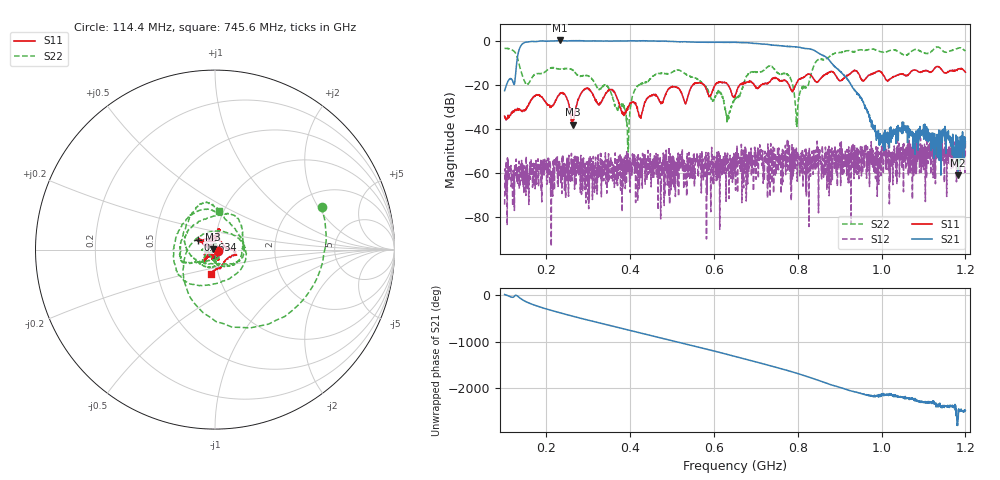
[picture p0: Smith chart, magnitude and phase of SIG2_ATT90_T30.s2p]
# Hz S DB R 50
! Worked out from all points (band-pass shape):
!   1601 points, 100 MHz to 1.2 GHz, reference 50 ohm
!   highest |S21| = 0.16 dB at 232 MHz (marker M1); lowest = -61.0 dB at 1.182 GHz (marker M2)
!   |S21| within 3 dB of the highest: 137.2 MHz to 795.6 MHz (658.4 MHz wide, 141 % of centre); 795.8826 MHz to 798.4023 MHz (2.52 MHz wide, 0.316 % of centre)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
!   lowest |S11| = -38.0 dB at 262.2 MHz (marker M3), VSWR 1.03, Z = 48.8 + j0.0724 ohm
!   |S11| at or under -10 dB: start of sweep to end of sweep
!   |S22| runs from -50.5 to -2.7 dB; largest |S21 - S12| = 1
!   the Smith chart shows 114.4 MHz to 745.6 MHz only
!   S11 on the Smith chart (normalised r, x): 114.4 MHz: 1.04, -0.02; 563.4 MHz: 0.82, +0.09; 745.6 MHz: 0.92, -0.26
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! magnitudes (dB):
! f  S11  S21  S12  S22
! 100 MHz  -34.2  -22.6  -74.4  -3.5
! 114.4 MHz  -33.7  -17.2  -59.0  -3.8
! 152.9 MHz  -30.3  -0.5  -58.4  -19.8
! 232 MHz  -23.8  0.2  -60.6  -12.9
! 262.2 MHz  -38.0  0.0  -54.0  -13.3
! 283.6 MHz  -23.7  0.0  -69.8  -15.9
! 345.4 MHz  -23.0  -0.1  -60.6  -20.8
! 394.2 MHz  -30.3  0.0  -51.2  -45.9
! 412.8 MHz  -28.2  0.0  -73.4  -21.8
! 467.1 MHz  -26.4  -0.1  -56.3  -14.8
! 563.4 MHz  -19.1  -0.6  -54.2  -17.8
! 632.1 MHz  -19.7  -0.7  -51.0  -36.5
! 650 MHz  -25.3  -0.7  -60.0  -26.7
! 685.1 MHz  -18.1  -1.0  -54.9  -14.5
! 745.6 MHz  -17.1  -2.0  -55.0  -13.2
! 780.6 MHz  -20.7  -2.6  -59.1  -16.5
! 797.8 MHz  -18.9  -2.8  -52.8  -38.9
! 833.6 MHz  -16.1  -3.9  -57.8  -13.8
! 1.017 GHz  -17.7  -41.9  -56.8  -4.6
! 1.151 GHz  -14.5  -38.9  -51.2  -5.2
! 1.182 GHz  -13.0  -61.0  -48.4  -3.3
! 1.2 GHz  -14.3  -45.8  -45.9  -4.6
